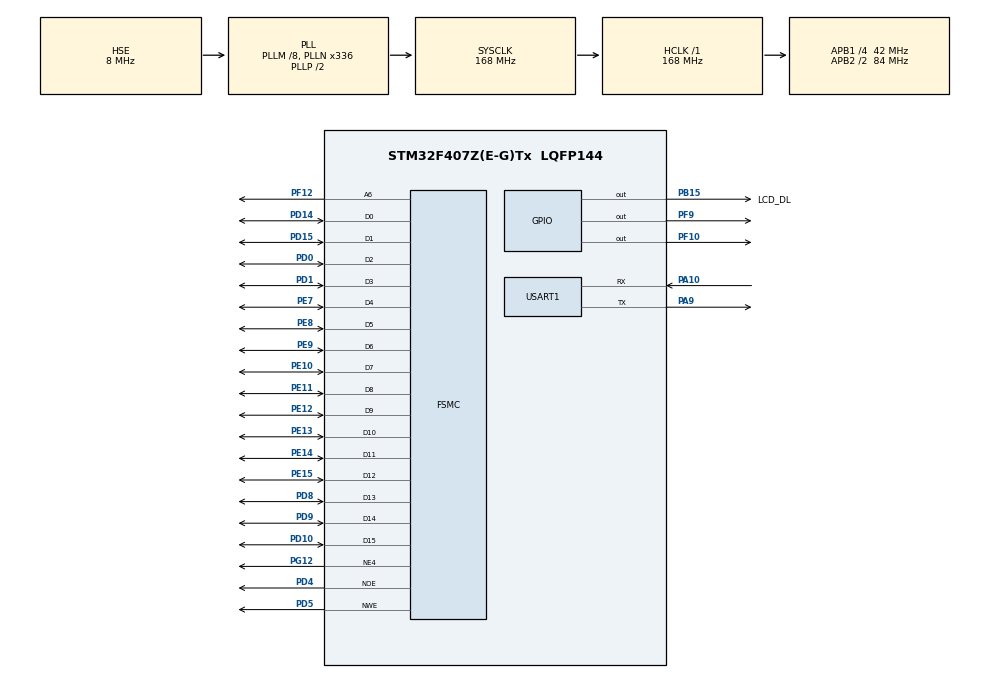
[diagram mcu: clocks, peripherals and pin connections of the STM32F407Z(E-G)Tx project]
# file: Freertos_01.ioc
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FREERTOS.Tasks01=defaultTask,24,128,StartDefaultTask,Default,NULL,Dynamic,NULL,NULL
FSMC.AddressSetupTime1=0x0F
FSMC.BusTurnAroundDuration1=0
FSMC.DataSetupTime1=60
FSMC.ExtendedAddressSetupTime1=9
FSMC.ExtendedBusTurnAroundDuration1=0
FSMC.ExtendedDataSetupTime1=9
FSMC.ExtendedMode1=FSMC_EXTENDED_MODE_ENABLE
Mcu.Family=STM32F4
Mcu.Name=STM32F407Z(E-G)Tx
Mcu.Package=LQFP144
NVIC.PriorityGroup=NVIC_PRIORITYGROUP_4
NVIC.TIM4_IRQn=true\:15\:0\:false\:false\:true\:false\:false\:true\:true
NVIC.TimeBase=TIM4_IRQn
NVIC.TimeBaseIP=TIM4
NVIC.USART1_IRQn=true\:5\:0\:false\:false\:true\:true\:true\:true\:true
PA10.Mode=Asynchronous
PA10.Signal=USART1_RX
PA13.Mode=Serial_Wire
PA13.Signal=SYS_JTMS-SWDIO
PA14.Mode=Serial_Wire
PA14.Signal=SYS_JTCK-SWCLK
PA9.Mode=Asynchronous
PA9.Signal=USART1_TX
PB15.GPIO_Label=LCD_DL
PB15.Signal=GPIO_Output
PD0.Signal=FSMC_D2_DA2
PD1.Signal=FSMC_D3_DA3
PD10.Signal=FSMC_D15_DA15
PD14.Signal=FSMC_D0_DA0
PD15.Signal=FSMC_D1_DA1
PD4.Signal=FSMC_NOE
PD5.Signal=FSMC_NWE
PD8.Signal=FSMC_D13_DA13
PD9.Signal=FSMC_D14_DA14
PE10.Signal=FSMC_D7_DA7
PE11.Signal=FSMC_D8_DA8
PE12.Signal=FSMC_D9_DA9
PE13.Signal=FSMC_D10_DA10
PE14.Signal=FSMC_D11_DA11
PE15.Signal=FSMC_D12_DA12
PE7.Signal=FSMC_D4_DA4
PE8.Signal=FSMC_D5_DA5
PE9.Signal=FSMC_D6_DA6
PF10.Signal=GPIO_Output
PF12.Signal=FSMC_A6
PF9.Signal=GPIO_Output
PG12.Mode=NorPsramChipSelect4_1
PG12.Signal=FSMC_NE4
PH0-OSC_IN.Mode=HSE-External-Oscillator
PH0-OSC_IN.Signal=RCC_OSC_IN
PH1-OSC_OUT.Mode=HSE-External-Oscillator
PH1-OSC_OUT.Signal=RCC_OSC_OUT
ProjectManager.HeapSize=0x200
ProjectManager.StackSize=0x400
ProjectManager.TargetToolchain=MDK-ARM V5.32
RCC.48MHZClocksFreq_Value=84000000
RCC.AHBFreq_Value=168000000
RCC.APB1CLKDivider=RCC_HCLK_DIV4
RCC.APB1Freq_Value=42000000
RCC.APB1TimFreq_Value=84000000
RCC.APB2CLKDivider=RCC_HCLK_DIV2
RCC.APB2Freq_Value=84000000
RCC.APB2TimFreq_Value=168000000
RCC.CortexFreq_Value=168000000
RCC.HCLKFreq_Value=168000000
RCC.HSE_VALUE=8000000
RCC.HSI_VALUE=16000000
RCC.LSE_VALUE=32768
RCC.PLLM=8
RCC.PLLN=336
RCC.PLLSourceVirtual=RCC_PLLSOURCE_HSE
RCC.SYSCLKFreq_VALUE=168000000
RCC.SYSCLKSource=RCC_SYSCLKSOURCE_PLLCLK
RCC.VCOOutputFreq_Value=336000000
SH.FSMC_A6.0=FSMC_A6,A6_1
SH.FSMC_D0_DA0.0=FSMC_D0,16b-d1
SH.FSMC_D10_DA10.0=FSMC_D10,16b-d1
SH.FSMC_D11_DA11.0=FSMC_D11,16b-d1
SH.FSMC_D12_DA12.0=FSMC_D12,16b-d1
SH.FSMC_D13_DA13.0=FSMC_D13,16b-d1
SH.FSMC_D14_DA14.0=FSMC_D14,16b-d1
SH.FSMC_D15_DA15.0=FSMC_D15,16b-d1
SH.FSMC_D1_DA1.0=FSMC_D1,16b-d1
SH.FSMC_D2_DA2.0=FSMC_D2,16b-d1
SH.FSMC_D3_DA3.0=FSMC_D3,16b-d1
SH.FSMC_D4_DA4.0=FSMC_D4,16b-d1
SH.FSMC_D5_DA5.0=FSMC_D5,16b-d1
SH.FSMC_D6_DA6.0=FSMC_D6,16b-d1
SH.FSMC_D7_DA7.0=FSMC_D7,16b-d1
SH.FSMC_D8_DA8.0=FSMC_D8,16b-d1
SH.FSMC_D9_DA9.0=FSMC_D9,16b-d1
SH.FSMC_NOE.0=FSMC_NOE,Lcd1
SH.FSMC_NWE.0=FSMC_NWE,Lcd1
USART1.VirtualMode=VM_ASYNC
VP_FREERTOS_VS_CMSIS_V2.Mode=CMSIS_V2
VP_SYS_VS_tim4.Mode=TIM4
board=custom

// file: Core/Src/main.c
/* USER CODE BEGIN Header */
/**
  ******************************************************************************
  * @file           : main.c
  * @brief          : Main program body
  ******************************************************************************
  * @attention
  *
  * Copyright (c) 2024 STMicroelectronics.
  * All rights reserved.
  *
  * This software is licensed under terms that can be found in the LICENSE file
  * in the root directory of this software component.
  * If no LICENSE file comes with this software, it is provided AS-IS.
  *
  ******************************************************************************
  */
/* USER CODE END Header */
#include "main.h"
#include "cmsis_os.h"
#include "usart.h"
#include "gpio.h"
#include "fsmc.h"
#include "lcd.h"

void SystemClock_Config(void);
void MX_FREERTOS_Init(void);

int main(void)
{

  /* MCU Configuration--------------------------------------------------------*/

  /* Reset of all peripherals, Initializes the Flash interface and the Systick. */
  HAL_Init();

  /* Configure the system clock */
  SystemClock_Config();

  /* Initialize all configured peripherals */
  MX_GPIO_Init();
  MX_USART1_UART_Init();
  MX_FSMC_Init();
  /* USER CODE BEGIN 2 */
  lcd_init();
  lcd_show_string(10, 40, 240, 32, 32, "STM32", RED);
  lcd_show_string(10, 80, 240, 24, 24, "TFTLCD TEST", RED);
  lcd_show_string(10, 110, 240, 16, 16, "ATOM@ALIENTEK", RED);
  /* USER CODE END 2 */

  /* Init scheduler */
  osKernelInitialize();

  /* Call init function for freertos objects (in freertos.c) */
  MX_FREERTOS_Init();

  /* Start scheduler */
  osKernelStart();

  /* We should never get here as control is now taken by the scheduler */
  /* Infinite loop */
  while (1)
  {

  }
}

void SystemClock_Config(void)
{
  RCC_OscInitTypeDef RCC_OscInitStruct = {0};
  RCC_ClkInitTypeDef RCC_ClkInitStruct = {0};

  /** Configure the main internal regulator output voltage
  */
  __HAL_RCC_PWR_CLK_ENABLE();
  __HAL_PWR_VOLTAGESCALING_CONFIG(PWR_REGULATOR_VOLTAGE_SCALE1);

  /** Initializes the RCC Oscillators according to the specified parameters
  * in the RCC_OscInitTypeDef structure.
  */
  RCC_OscInitStruct.OscillatorType = RCC_OSCILLATORTYPE_HSE;
  RCC_OscInitStruct.HSEState = RCC_HSE_ON;
  RCC_OscInitStruct.PLL.PLLState = RCC_PLL_ON;
  RCC_OscInitStruct.PLL.PLLSource = RCC_PLLSOURCE_HSE;
  RCC_OscInitStruct.PLL.PLLM = 8;
  RCC_OscInitStruct.PLL.PLLN = 336;
  RCC_OscInitStruct.PLL.PLLP = RCC_PLLP_DIV2;
  RCC_OscInitStruct.PLL.PLLQ = 4;
  if (HAL_RCC_OscConfig(&RCC_OscInitStruct) != HAL_OK)
  {
    Error_Handler();
  }

  /** Initializes the CPU, AHB and APB buses clocks
  */
  RCC_ClkInitStruct.ClockType = RCC_CLOCKTYPE_HCLK|RCC_CLOCKTYPE_SYSCLK
                              |RCC_CLOCKTYPE_PCLK1|RCC_CLOCKTYPE_PCLK2;
  RCC_ClkInitStruct.SYSCLKSource = RCC_SYSCLKSOURCE_PLLCLK;
  RCC_ClkInitStruct.AHBCLKDivider = RCC_SYSCLK_DIV1;
  RCC_ClkInitStruct.APB1CLKDivider = RCC_HCLK_DIV4;
  RCC_ClkInitStruct.APB2CLKDivider = RCC_HCLK_DIV2;

  if (HAL_RCC_ClockConfig(&RCC_ClkInitStruct, FLASH_LATENCY_5) != HAL_OK)
  {
    Error_Handler();
  }
}

void HAL_TIM_PeriodElapsedCallback(TIM_HandleTypeDef *htim)
{
  if (htim->Instance == TIM4) {
    HAL_IncTick();
  }
}

void Error_Handler(void)
{
  __disable_irq();
  while (1)
  {
  }
}

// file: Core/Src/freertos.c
/* USER CODE BEGIN Header */
/**
  ******************************************************************************
  * File Name          : freertos.c
  * Description        : Code for freertos applications
  ******************************************************************************
  * @attention
  *
  * Copyright (c) 2024 STMicroelectronics.
  * All rights reserved.
  *
  * This software is licensed under terms that can be found in the LICENSE file
  * in the root directory of this software component.
  * If no LICENSE file comes with this software, it is provided AS-IS.
  *
  ******************************************************************************
  */
/* USER CODE END Header */

#include "FreeRTOS.h"
#include "task.h"
#include "main.h"
#include "cmsis_os.h"

/* USER CODE BEGIN Includes */
#include "queue.h"
#include "uart_app.h"
#include <stdio.h>
/* USER CODE END Includes */

/* USER CODE BEGIN Variables */
TaskHandle_t led1_taskHandle;
QueueHandle_t blink_led = NULL;
TaskHandle_t uart_taskHandle;
/* USER CODE END Variables */
/* Definitions for defaultTask */
osThreadId_t defaultTaskHandle;
const osThreadAttr_t defaultTask_attributes = {
  .name = "defaultTask",
  .stack_size = 128 * 4,
  .priority = (osPriority_t) osPriorityNormal,
};

/* USER CODE BEGIN FunctionPrototypes */
void Task1(void *argument);
void Task2(void *argument);
/* USER CODE END FunctionPrototypes */

void StartDefaultTask(void *argument);

void MX_FREERTOS_Init(void); /* (MISRA C 2004 rule 8.1) */

void MX_FREERTOS_Init(void) {

  /* USER CODE BEGIN RTOS_QUEUES */
  /* add queues, ... */
  blink_led = xQueueCreate(1,sizeof(int));
  /* USER CODE END RTOS_QUEUES */

  /* Create the thread(s) */
  /* creation of defaultTask */
  defaultTaskHandle = osThreadNew(StartDefaultTask, NULL, &defaultTask_attributes);

  /* USER CODE BEGIN RTOS_THREADS */
  /* add threads, ... */
  BaseType_t res;
  res = xTaskCreate(Task1, "Task1", 128, NULL, osPriorityNormal, &led1_taskHandle);
  if(res != pdPASS){
    Error_Handler();
  }
  xTaskCreate(Task2, "Task2", 128, NULL, osPriorityNormal, &led1_taskHandle);
  xTaskCreate(uart_task_function, "UART_Task", 128, NULL, osPriorityNormal, &uart_taskHandle);
  /* USER CODE END RTOS_THREADS */

}

void StartDefaultTask(void *argument)
{
  /* USER CODE BEGIN StartDefaultTask */
  /* Infinite loop */
  for(;;)
  {
    // uart_task_function();
  }
  /* USER CODE END StartDefaultTask */
}

/* USER CODE BEGIN Application */
// led blinking task
void Task1(void *argument){
  uint8_t flag = 0;
  uint16_t time = 500;
  for(;;){
    HAL_GPIO_WritePin(GPIOF, GPIO_PIN_10, GPIO_PIN_RESET);
    HAL_Delay(time);
    HAL_GPIO_WritePin(GPIOF, GPIO_PIN_10, GPIO_PIN_SET);
    HAL_Delay(time);
    xQueueReceive(blink_led, &flag, 0);
    if(flag == 1){
      time = 200;
    }else if(flag == 0){
      time = 500;
    }
    printf("time: %d\r\n", time);
  }
}
void Task2(void *argument){
  static uint8_t led_state = 0;
  uint8_t flag = 0;
  for(;;){
    HAL_GPIO_WritePin(GPIOF, GPIO_PIN_9, GPIO_PIN_RESET);
    HAL_Delay(1000);
    HAL_GPIO_WritePin(GPIOF, GPIO_PIN_9, GPIO_PIN_SET);
    HAL_Delay(1000);
    led_state++;
    if(led_state <= 4){
      flag = 1;
      xQueueSend(blink_led, &flag, 1000);
    }else if(led_state > 4 && led_state <= 7){
      flag = 0;
      xQueueSend(blink_led, &flag, 1000);
    }else {
      led_state = 0;
    }
    printf("LED state: %d\r\n", led_state);
  }
}
/* USER CODE END Application */
